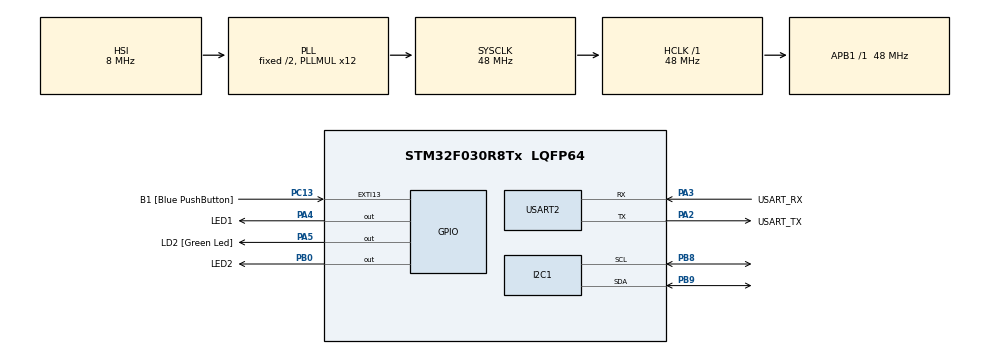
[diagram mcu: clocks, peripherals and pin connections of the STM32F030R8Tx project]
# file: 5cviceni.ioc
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Dma.Request0=USART2_RX
Dma.USART2_RX.0.Direction=DMA_PERIPH_TO_MEMORY
Dma.USART2_RX.0.Instance=DMA1_Channel5
Dma.USART2_RX.0.MemDataAlignment=DMA_MDATAALIGN_BYTE
Dma.USART2_RX.0.MemInc=DMA_MINC_ENABLE
Dma.USART2_RX.0.Mode=DMA_CIRCULAR
Dma.USART2_RX.0.PeriphDataAlignment=DMA_PDATAALIGN_BYTE
Dma.USART2_RX.0.PeriphInc=DMA_PINC_DISABLE
Dma.USART2_RX.0.Priority=DMA_PRIORITY_LOW
Mcu.Family=STM32F0
Mcu.Name=STM32F030R8Tx
Mcu.Package=LQFP64
NVIC.DMA1_Channel4_5_IRQn=true\:0\:0\:false\:false\:true\:false\:true\:true
PA13.GPIO_Label=TMS
PA13.Mode=Serial_Wire
PA13.Signal=SYS_SWDIO
PA14.GPIO_Label=TCK
PA14.Mode=Serial_Wire
PA14.Signal=SYS_SWCLK
PA2.GPIO_Label=USART_TX
PA2.GPIO_Mode=GPIO_MODE_AF_PP
PA2.GPIO_PuPd=GPIO_NOPULL
PA2.GPIO_Speed=GPIO_SPEED_FREQ_LOW
PA2.Mode=Asynchronous
PA2.Signal=USART2_TX
PA3.GPIO_Label=USART_RX
PA3.GPIO_Mode=GPIO_MODE_AF_PP
PA3.GPIO_PuPd=GPIO_NOPULL
PA3.GPIO_Speed=GPIO_SPEED_FREQ_LOW
PA3.Mode=Asynchronous
PA3.Signal=USART2_RX
PA4.GPIO_Label=LED1
PA4.Signal=GPIO_Output
PA5.GPIO_Label=LD2 [Green Led]
PA5.GPIO_Mode=GPIO_MODE_OUTPUT_PP
PA5.GPIO_PuPd=GPIO_NOPULL
PA5.GPIO_Speed=GPIO_SPEED_FREQ_LOW
PA5.Signal=GPIO_Output
PB0.GPIO_Label=LED2
PB0.Signal=GPIO_Output
PB8.Mode=I2C
PB8.Signal=I2C1_SCL
PB9.Mode=I2C
PB9.Signal=I2C1_SDA
PC13.GPIO_Label=B1 [Blue PushButton]
PC13.GPIO_ModeDefaultEXTI=GPIO_MODE_IT_FALLING
PC13.Signal=GPXTI13
PC14-OSC32_IN.Mode=LSE-External-Oscillator
PC14-OSC32_IN.Signal=RCC_OSC32_IN
PC15-OSC32_OUT.Mode=LSE-External-Oscillator
PC15-OSC32_OUT.Signal=RCC_OSC32_OUT
PF0-OSC_IN.Mode=HSE-External-Clock-Source
PF0-OSC_IN.Signal=RCC_OSC_IN
PF1-OSC_OUT.Signal=RCC_OSC_OUT
ProjectManager.HeapSize=0x200
ProjectManager.StackSize=0x400
ProjectManager.TargetToolchain=STM32CubeIDE
RCC.AHBFreq_Value=48000000
RCC.APB1Freq_Value=48000000
RCC.APB1TimFreq_Value=48000000
RCC.HCLKFreq_Value=48000000
RCC.PLLMUL=RCC_PLL_MUL12
RCC.SYSCLKFreq_VALUE=48000000
RCC.SYSCLKSource=RCC_SYSCLKSOURCE_PLLCLK
USART2.VirtualMode-Asynchronous=VM_ASYNC
board=NUCLEO-F030R8

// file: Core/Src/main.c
/* USER CODE BEGIN Header */
/**
  ******************************************************************************
  * @file           : main.c
  * @brief          : Main program body
  ******************************************************************************
  * @attention
  *
  * Copyright (c) 2022 STMicroelectronics.
  * All rights reserved.
  *
  * This software is licensed under terms that can be found in the LICENSE file
  * in the root directory of this software component.
  * If no LICENSE file comes with this software, it is provided AS-IS.
  *
  ******************************************************************************
  */
/* USER CODE END Header */
#include "main.h"

/* USER CODE BEGIN Includes */
#include <stdio.h>
#include <string.h>
#include <stdlib.h>
/* USER CODE END Includes */

/* USER CODE BEGIN PD */
#define RX_BUFFER_LEN 64 // circular buffer
#define uart_rx_write_ptr (RX_BUFFER_LEN - hdma_usart2_rx.Instance->CNDTR) // pointer
#define CMD_BUFFER_LEN 256 // sorted buffer
#define EEPROM_ADDR  0xA0 // EEPROM address 0b10100000
// which reads all unread data
// it is pointing for last DMA data read
/* USER CODE END PD */

I2C_HandleTypeDef hi2c1;

UART_HandleTypeDef huart2;
DMA_HandleTypeDef hdma_usart2_rx;

/* USER CODE BEGIN PV */
static uint8_t uart_rx_buf[RX_BUFFER_LEN];
static volatile uint16_t uart_rx_read_ptr = 0; // reading pointer incremented by software
// it is used for reading
/* USER CODE END PV */

void SystemClock_Config(void);
static void MX_GPIO_Init(void);
static void MX_DMA_Init(void);
static void MX_USART2_UART_Init(void);
static void MX_I2C1_Init(void);

/* USER CODE BEGIN 0 */
int _write(int file, char const *buf, int n) { // this function is defined in stdio.h as a weak, so we rewrite it
	/* stdout redirection to UART2 */
	HAL_UART_Transmit(&huart2, (uint8_t*)(buf), n, HAL_MAX_DELAY);
	return n;
}

static void  uart_process_command(char *cmd) {
	char *token;
	token = strtok(cmd, " "); // strtok - first parameter is pointer on start of our data ("HELLO"), second parameter is chain of our data
	// and if it finds char " ", then it replace it with /0 and saves it to token and then it is ended
	// in next call pointer is pointing on next word and then continues the same way
	if (strcasecmp(token, "HELLO") == 0) { // strcasecmp - comparing two chains and if they are the same, returns 0 (ignores
		// small and big font differences, iow. aHoJ = AHOJ = ahoj)
		printf("Komunikace OK\n");
	}
	else if (strcasecmp(token, "LED1") == 0) { // condition for turning LED1 on or off
		token = strtok(NULL, " "); // this is basically used for splitting words for processing (per partes)
		if (strcasecmp(token, "ON") == 0) {
			HAL_GPIO_WritePin(GPIOA, LED1_Pin, 1); // LED1 ON
		}
		else if (strcasecmp(token, "OFF") == 0) {
			HAL_GPIO_WritePin(GPIOA, LED1_Pin, 0); // LED1 OFF
		}
		printf("OK\n");
	}
	else if (strcasecmp(token, "LED2") == 0) { // condition for turning LED2 on or off
		token = strtok(NULL, " ");
		if (strcasecmp(token, "ON") == 0) {
			HAL_GPIO_WritePin(GPIOB, LED2_Pin, 1); // LED2 ON
		}
		else if (strcasecmp(token, "OFF") == 0) {
			HAL_GPIO_WritePin(GPIOB, LED2_Pin, 0); // LED2 OFF
		}
		printf("OK\n");
	}
	else if (strcasecmp(token, "STATUS") == 0) { // condition for status of LED1 and LED2
		static uint8_t LED1;
		LED1 = HAL_GPIO_ReadPin(GPIOA, LED1_Pin);
		static uint8_t LED2;
		LED2 = HAL_GPIO_ReadPin(GPIOB, LED2_Pin);
		if ((LED1 == 1) && (LED2 == 1)) {
			printf("LED1 is ON\nLED2 is ON\n");
		}
		else if ((LED1 == 1) && (LED2 == 0)) {
			printf("LED1 is ON\nLED2 is OFF\n");
		}
		else if ((LED1 == 0) && (LED2 == 0)) {
			printf("LED1 is OFF\nLED2 is OFF\n");
		}
		else if ((LED1 == 0) && (LED2 == 1)) {
			printf("LED1 is OFF\nLED2 is ON\n");
		}
	}
	else if (strcasecmp(token, "READ") == 0) { // read one byte on 2-byte address from EEPROM through I2C using USART2
		static uint16_t addr = 0;
		static uint8_t value = 0;
		token = strtok(NULL, " ");
		addr = atoi(token);
		HAL_I2C_Mem_Read(&hi2c1, EEPROM_ADDR, addr, I2C_MEMADD_SIZE_16BIT, &value, 1, 1000);
		printf("Your entered address 0x%04X includes 0x%02X\n", addr, value);
	}
	else if (strcasecmp(token, "WRITE") == 0) { // write one byte on 2-byte address in EEPROM through I2C using USART2
		static uint16_t addr = 0;
		static uint8_t value = 0;
		token = strtok(NULL, " ");
		addr = atoi(token);
		token = strtok(NULL, " ");
		value = atoi(token);
		HAL_I2C_Mem_Write(&hi2c1, EEPROM_ADDR, addr, I2C_MEMADD_SIZE_16BIT, &value, 1, 1000);
		/* Check if the EEPROM is ready for a new operation */
		while (HAL_I2C_IsDeviceReady(&hi2c1, EEPROM_ADDR, 300, 1000) == HAL_TIMEOUT) {}
		printf("Your entered address 0x%04X now includes your entered 0x%02X\n", addr, value);
	}
	else if (strcasecmp(token, "DUMP") == 0) { // reads first 16 bytes from EEPROM through I2C using USART2
		static uint8_t value = 0;
		for (uint16_t i = 0; i<8; i++) {
			HAL_I2C_Mem_Read(&hi2c1, EEPROM_ADDR, i, I2C_MEMADD_SIZE_16BIT, &value, 1, 1000);
			printf("%02X", value);
			if (i < 7) {
				printf(" ");
			}
			else {
				printf(" \n");
			}
		}
		for (uint16_t i = 8; i<16; i++){
			HAL_I2C_Mem_Read(&hi2c1, EEPROM_ADDR, i, I2C_MEMADD_SIZE_16BIT, &value, 1, 1000);
			printf("%02X", value);
			if (i < 15) {
				printf(" ");
			}
			else {
				printf(" \n");
			}
		}
	}
}

static void uart_byte_available(uint8_t c) { // 1 byte from buffer input
	static uint16_t cnt; // internal counter
	static char data[CMD_BUFFER_LEN]; // this buffer is always sorted from the beginning
	if (cnt < CMD_BUFFER_LEN && c >= 32 && c <= 126) data[cnt++] = c; // still in our memory size
	// and we are in our ASCII range from 32 to 126
	if ((c == '\n' || c == '\r') && cnt > 0) { // condition for a new line and if we get a new data in memory
		data[cnt] = '\0'; // very important, every chains (retezce) in function are ended by \0
		uart_process_command(data);
		cnt = 0;
	}
}
/* USER CODE END 0 */

int main(void)
{

  /* MCU Configuration--------------------------------------------------------*/

  /* Reset of all peripherals, Initializes the Flash interface and the Systick. */
  HAL_Init();

  /* Configure the system clock */
  SystemClock_Config();

  /* Initialize all configured peripherals */
  MX_GPIO_Init();
  MX_DMA_Init();
  MX_USART2_UART_Init();
  MX_I2C1_Init();
  /* USER CODE BEGIN 2 */
  HAL_UART_Receive_DMA(&huart2, uart_rx_buf, RX_BUFFER_LEN); // activation
  /* USER CODE END 2 */

  /* Infinite loop */
  while (1)
  {

    /* USER CODE BEGIN 3 */
	  // uint8_t c;
	  //HAL_UART_Receive(&huart2, &c, 1, HAL_MAX_DELAY); // blocking communication
	  //HAL_UART_Transmit(&huart2, &c, 1, HAL_MAX_DELAY); // blocking communication
	  while (uart_rx_read_ptr != uart_rx_write_ptr) {
		  uint8_t b = uart_rx_buf[uart_rx_read_ptr];
		  if (++uart_rx_read_ptr >= RX_BUFFER_LEN) uart_rx_read_ptr = 0; // increase read pointer
		  uart_byte_available(b); // process every received byte with the RX state machine
	  }
  }
  /* USER CODE END 3 */
}

void SystemClock_Config(void)
{
  RCC_OscInitTypeDef RCC_OscInitStruct = {0};
  RCC_ClkInitTypeDef RCC_ClkInitStruct = {0};
  RCC_PeriphCLKInitTypeDef PeriphClkInit = {0};

  /** Initializes the RCC Oscillators according to the specified parameters
  * in the RCC_OscInitTypeDef structure.
  */
  RCC_OscInitStruct.OscillatorType = RCC_OSCILLATORTYPE_HSI;
  RCC_OscInitStruct.HSIState = RCC_HSI_ON;
  RCC_OscInitStruct.HSICalibrationValue = RCC_HSICALIBRATION_DEFAULT;
  RCC_OscInitStruct.PLL.PLLState = RCC_PLL_ON;
  RCC_OscInitStruct.PLL.PLLSource = RCC_PLLSOURCE_HSI;
  RCC_OscInitStruct.PLL.PLLMUL = RCC_PLL_MUL12;
  RCC_OscInitStruct.PLL.PREDIV = RCC_PREDIV_DIV1;
  if (HAL_RCC_OscConfig(&RCC_OscInitStruct) != HAL_OK)
  {
    Error_Handler();
  }

  /** Initializes the CPU, AHB and APB buses clocks
  */
  RCC_ClkInitStruct.ClockType = RCC_CLOCKTYPE_HCLK|RCC_CLOCKTYPE_SYSCLK
                              |RCC_CLOCKTYPE_PCLK1;
  RCC_ClkInitStruct.SYSCLKSource = RCC_SYSCLKSOURCE_PLLCLK;
  RCC_ClkInitStruct.AHBCLKDivider = RCC_SYSCLK_DIV1;
  RCC_ClkInitStruct.APB1CLKDivider = RCC_HCLK_DIV1;

  if (HAL_RCC_ClockConfig(&RCC_ClkInitStruct, FLASH_LATENCY_1) != HAL_OK)
  {
    Error_Handler();
  }
  PeriphClkInit.PeriphClockSelection = RCC_PERIPHCLK_I2C1;
  PeriphClkInit.I2c1ClockSelection = RCC_I2C1CLKSOURCE_HSI;
  if (HAL_RCCEx_PeriphCLKConfig(&PeriphClkInit) != HAL_OK)
  {
    Error_Handler();
  }
}

static void MX_I2C1_Init(void)
{

  hi2c1.Instance = I2C1;
  hi2c1.Init.Timing = 0x2000090E;
  hi2c1.Init.OwnAddress1 = 0;
  hi2c1.Init.AddressingMode = I2C_ADDRESSINGMODE_7BIT;
  hi2c1.Init.DualAddressMode = I2C_DUALADDRESS_DISABLE;
  hi2c1.Init.OwnAddress2 = 0;
  hi2c1.Init.OwnAddress2Masks = I2C_OA2_NOMASK;
  hi2c1.Init.GeneralCallMode = I2C_GENERALCALL_DISABLE;
  hi2c1.Init.NoStretchMode = I2C_NOSTRETCH_DISABLE;
  if (HAL_I2C_Init(&hi2c1) != HAL_OK)
  {
    Error_Handler();
  }

  /** Configure Analogue filter
  */
  if (HAL_I2CEx_ConfigAnalogFilter(&hi2c1, I2C_ANALOGFILTER_ENABLE) != HAL_OK)
  {
    Error_Handler();
  }

  /** Configure Digital filter
  */
  if (HAL_I2CEx_ConfigDigitalFilter(&hi2c1, 0) != HAL_OK)
  {
    Error_Handler();
  }

}

static void MX_USART2_UART_Init(void)
{

  huart2.Instance = USART2;
  huart2.Init.BaudRate = 38400;
  huart2.Init.WordLength = UART_WORDLENGTH_8B;
  huart2.Init.StopBits = UART_STOPBITS_1;
  huart2.Init.Parity = UART_PARITY_NONE;
  huart2.Init.Mode = UART_MODE_TX_RX;
  huart2.Init.HwFlowCtl = UART_HWCONTROL_NONE;
  huart2.Init.OverSampling = UART_OVERSAMPLING_16;
  huart2.Init.OneBitSampling = UART_ONE_BIT_SAMPLE_DISABLE;
  huart2.AdvancedInit.AdvFeatureInit = UART_ADVFEATURE_NO_INIT;
  if (HAL_UART_Init(&huart2) != HAL_OK)
  {
    Error_Handler();
  }

}

static void MX_DMA_Init(void)
{

  /* DMA controller clock enable */
  __HAL_RCC_DMA1_CLK_ENABLE();

  /* DMA interrupt init */
  /* DMA1_Channel4_5_IRQn interrupt configuration */
  HAL_NVIC_SetPriority(DMA1_Channel4_5_IRQn, 0, 0);
  HAL_NVIC_EnableIRQ(DMA1_Channel4_5_IRQn);

}

static void MX_GPIO_Init(void)
{
  GPIO_InitTypeDef GPIO_InitStruct = {0};

  /* GPIO Ports Clock Enable */
  __HAL_RCC_GPIOC_CLK_ENABLE();
  __HAL_RCC_GPIOF_CLK_ENABLE();
  __HAL_RCC_GPIOA_CLK_ENABLE();
  __HAL_RCC_GPIOB_CLK_ENABLE();

  /*Configure GPIO pin Output Level */
  HAL_GPIO_WritePin(GPIOA, GPIO_PIN_4|GPIO_PIN_5, GPIO_PIN_RESET);

  /*Configure GPIO pin Output Level */
  HAL_GPIO_WritePin(GPIOB, GPIO_PIN_0, GPIO_PIN_RESET);

  /*Configure GPIO pin : PC13 */
  GPIO_InitStruct.Pin = GPIO_PIN_13;
  GPIO_InitStruct.Mode = GPIO_MODE_IT_FALLING;
  GPIO_InitStruct.Pull = GPIO_NOPULL;
  HAL_GPIO_Init(GPIOC, &GPIO_InitStruct);

  /*Configure GPIO pins : PA4 PA5 */
  GPIO_InitStruct.Pin = GPIO_PIN_4|GPIO_PIN_5;
  GPIO_InitStruct.Mode = GPIO_MODE_OUTPUT_PP;
  GPIO_InitStruct.Pull = GPIO_NOPULL;
  GPIO_InitStruct.Speed = GPIO_SPEED_FREQ_LOW;
  HAL_GPIO_Init(GPIOA, &GPIO_InitStruct);

  /*Configure GPIO pin : PB0 */
  GPIO_InitStruct.Pin = GPIO_PIN_0;
  GPIO_InitStruct.Mode = GPIO_MODE_OUTPUT_PP;
  GPIO_InitStruct.Pull = GPIO_NOPULL;
  GPIO_InitStruct.Speed = GPIO_SPEED_FREQ_LOW;
  HAL_GPIO_Init(GPIOB, &GPIO_InitStruct);

}

void Error_Handler(void)
{
  __disable_irq();
  while (1)
  {
  }
}
